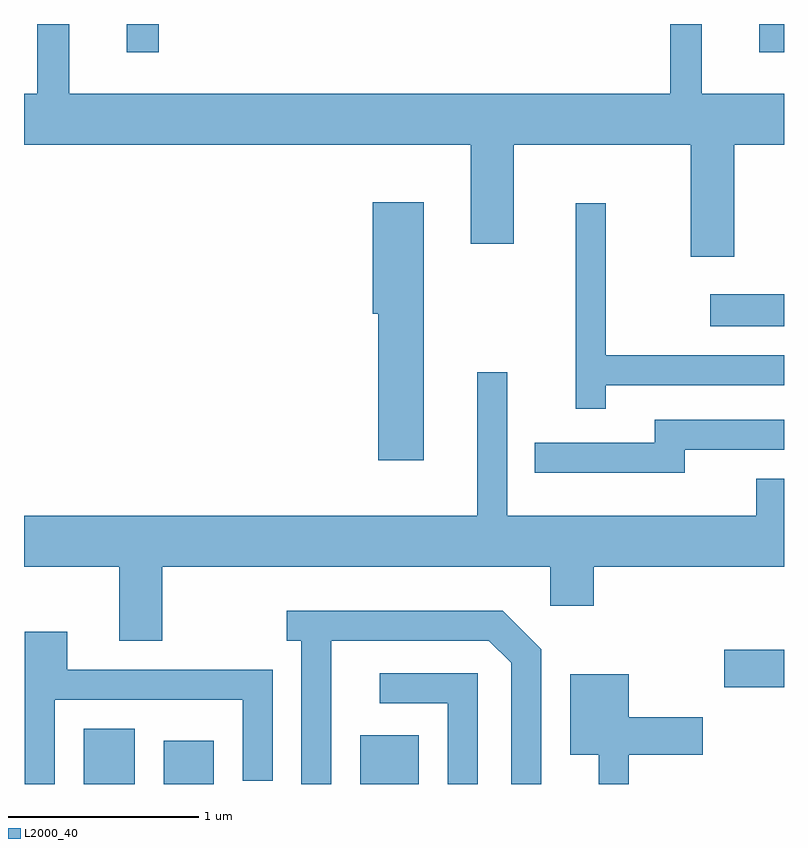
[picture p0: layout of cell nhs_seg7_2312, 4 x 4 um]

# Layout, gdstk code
import gdstk
lib = gdstk.Library(unit=1e-6, precision=1e-09)
def R(c, l, rs):  # rectangles x0, y0, x1, y1
    for r in rs: c.add(gdstk.rectangle(r[:2], r[2:], *l))
def P(c, l, *ps):  # polygons
    for p in ps: c.add(gdstk.Polygon(p, *l))
L2000_40 = (2000, 40)

nhs_seg7_2312 = lib.new_cell('nhs_seg7_2312')
R(nhs_seg7_2312, L2000_40, [(255.926,1744.252,256.194,1744.544), (256.346,1744.252,256.609,1744.479), (257.381,1744.252,257.689,1744.509), (259.296,1744.761,259.611,1744.959), (259.223,1746.661,259.611,1746.829), (256.151,1748.103,256.319,1748.252), (259.481,1748.103,259.611,1748.252)])
P(nhs_seg7_2312, L2000_40, [(259.349,1747.616),(259.611,1747.616),(259.611,1747.884),(259.179,1747.884),(259.179,1748.252),(259.011,1748.252),(259.011,1747.884),(255.849,1747.884),(255.849,1748.252),(255.681,1748.252),(255.681,1747.884),(255.611,1747.884),(255.611,1747.616),(257.961,1747.616),(257.961,1747.096),(258.189,1747.096),(258.189,1747.616),(259.121,1747.616),(259.121,1747.026),(259.349,1747.026)],
  [(257.714,1747.314),(257.446,1747.314),(257.446,1746.726),(257.476,1746.726),(257.476,1745.956),(257.714,1745.956)],
  [(258.674,1746.351),(259.611,1746.351),(259.611,1746.509),(258.674,1746.509),(258.674,1747.308),(258.516,1747.308),(258.516,1746.228),(258.674,1746.228)],
  [(256.339,1745.396),(258.381,1745.396),(258.381,1745.191),(258.609,1745.191),(258.609,1745.396),(259.611,1745.396),(259.611,1745.859),(259.466,1745.859),(259.466,1745.664),(258.154,1745.664),(258.154,1746.418),(257.996,1746.418),(257.996,1745.664),(255.611,1745.664),(255.611,1745.396),(256.111,1745.396),(256.111,1745.006),(256.339,1745.006)],
  [(259.089,1746.011),(259.611,1746.011),(259.611,1746.169),(258.931,1746.169),(258.931,1746.049),(258.298,1746.049),(258.298,1745.891),(259.089,1745.891)],
  [(257.229,1745.006),(258.058,1745.006),(258.176,1744.889),(258.176,1744.252),(258.334,1744.252),(258.334,1744.962),(258.132,1745.164),(256.993,1745.164),(256.993,1745.006),(257.071,1745.006),(257.071,1744.252),(257.229,1744.252)],
  [(255.774,1744.696),(256.761,1744.696),(256.761,1744.268),(256.919,1744.268),(256.919,1744.854),(255.839,1744.854),(255.839,1745.054),(255.616,1745.054),(255.616,1744.252),(255.774,1744.252)],
  [(257.999,1744.834),(257.483,1744.834),(257.483,1744.676),(257.841,1744.676),(257.841,1744.252),(257.999,1744.252)],
  [(258.794,1744.406),(259.184,1744.406),(259.184,1744.604),(258.794,1744.604),(258.794,1744.829),(258.486,1744.829),(258.486,1744.406),(258.636,1744.406),(258.636,1744.252),(258.794,1744.252)])

lib.write_gds('nhs_seg7_2312.gds')
